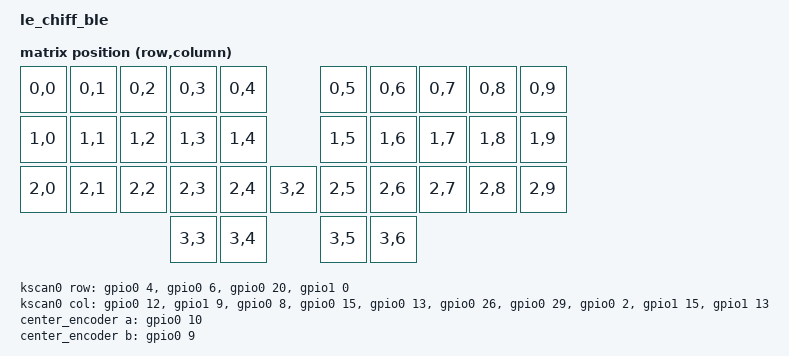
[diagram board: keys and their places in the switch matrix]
/*
 * Copyright (c) 2021 @MangoIV
 *
 * SPDX-License-Identifier: MIT
 */

/dts-v1/;
#include <nordic/nrf52840_qiaa.dtsi>
#include <dt-bindings/zmk/matrix_transform.h>

/ {
	model = "le_chiff_ble";
	compatible = "mangoiv,le_chiff_ble";

	chosen {
		zephyr,code-partition = &code_partition;
		zephyr,sram = &sram0;
		zephyr,flash = &flash0;
		zmk,kscan = &kscan0;
		zmk,matrix_transform = &default_transform;
		zephyr,display = &oled;
	};

	default_transform: keymap_transform_0 {
		compatible = "zmk,matrix-transform";
		rows = <4>;
		columns = <10>;
		map = <
		RC(0,0) RC(0,1) RC(0,2) RC(0,3) RC(0,4) 		RC(0,5) RC(0,6) RC(0,7) RC(0,8) RC(0,9)
		RC(1,0) RC(1,1) RC(1,2) RC(1,3) RC(1,4) 		RC(1,5) RC(1,6) RC(1,7) RC(1,8) RC(1,9)
		RC(2,0) RC(2,1) RC(2,2) RC(2,3) RC(2,4)	RC(3,2) RC(2,5) RC(2,6) RC(2,7) RC(2,8) RC(2,9)
		                        RC(3,3) RC(3,4) 		RC(3,5) RC(3,6)
		>;
	};

	kscan0: kscan {
		compatible = "zmk,kscan-gpio-matrix";
		label = "KSCAN";

		diode-direction = "col2row";
		col-gpios
			= <&gpio0 12 GPIO_ACTIVE_HIGH>
			, <&gpio1  9 GPIO_ACTIVE_HIGH>
			, <&gpio0  8 GPIO_ACTIVE_HIGH>
			, <&gpio0 15 GPIO_ACTIVE_HIGH>
			, <&gpio0 13 GPIO_ACTIVE_HIGH>
			, <&gpio0 26 GPIO_ACTIVE_HIGH>
			, <&gpio0 29 GPIO_ACTIVE_HIGH>
			, <&gpio0  2 GPIO_ACTIVE_HIGH>
			, <&gpio1 15 GPIO_ACTIVE_HIGH>
			, <&gpio1 13 GPIO_ACTIVE_HIGH>
			;
		row-gpios
			= <&gpio0  4 (GPIO_ACTIVE_HIGH | GPIO_PULL_DOWN)>
			, <&gpio0  6 (GPIO_ACTIVE_HIGH | GPIO_PULL_DOWN)>
			, <&gpio0 20 (GPIO_ACTIVE_HIGH | GPIO_PULL_DOWN)>
			, <&gpio1  0 (GPIO_ACTIVE_HIGH | GPIO_PULL_DOWN)>
			;
	};

	center_encoder: encoder_center {
		compatible = "alps,ec11";
		label = "CENTER_ENCODER";
		a-gpios = <&gpio0 10 (GPIO_ACTIVE_HIGH | GPIO_PULL_UP)>;
		b-gpios = <&gpio0  9 (GPIO_ACTIVE_HIGH | GPIO_PULL_UP)>;
		resolution = <4>;
		status = "okay";
	};

	sensors: sensors {
		compatible = "zmk,keymap-sensors";
		status = "okay";
        sensors = <&center_encoder>;
	};

	vbatt {
		compatible = "zmk,battery-voltage-divider";
		label = "BATTERY";
		io-channels = <&adc 7>;
		output-ohms = <2000000>;
		full-ohms = <(2000000 + 820000)>;
	};
};

&adc {
	status = "okay";
};

&gpiote {
	status = "okay";
};

&gpio0 {
	status = "okay";
};

&gpio1 {
	status = "okay";
};

&usbd {
	status = "okay";
};

&i2c0 {
	status = "okay";

	compatible = "nordic,nrf-twi";
	sda-pin = <24>;
	scl-pin = <22>;
	oled: ssd1306@3c {
		compatible = "solomon,ssd1306fb";
		reg = <0x3c>;
		label = "DISPLAY";
		width = <128>;
		height = <32>;
		segment-offset = <0>;
		page-offset = <0>;
		display-offset = <0>;
		multiplex-ratio = <31>;
		segment-remap;
		com-invdir;
		com-sequential;
		prechargep = <0x22>;
	};
};

&flash0 {
	/*
	 * For more information, see:
	 * http://docs.zephyrproject.org/latest/devices/dts/flash_partitions.html
	 */
	partitions {
		compatible = "fixed-partitions";
		#address-cells = <1>;
		#size-cells = <1>;

		sd_partition: partition@0 {
			label = "mbr";
			reg = <0x00000000 0x00001000>;
		};
		code_partition: partition@1000 {
			label = "code_partition";
			reg = <0x00001000 0x000d3000>;
		};

		storage_partition: partition@d4000 {
			label = "storage";
			reg = <0x000d4000 0x00020000>;
		};

		boot_partition: partition@f4000 {
			label = "adafruit_boot";
			reg = <0x000f4000 0x0000c000>;
		};
	};
};
